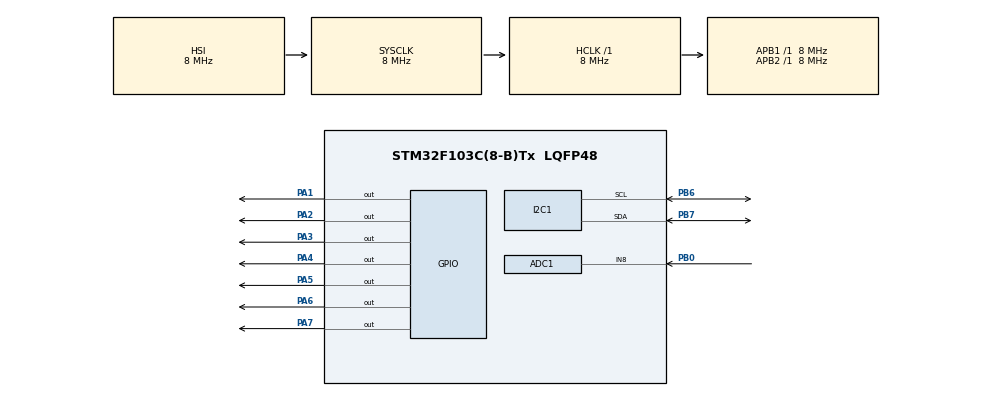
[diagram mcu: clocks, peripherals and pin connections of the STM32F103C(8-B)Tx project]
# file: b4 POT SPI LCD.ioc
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ADC1.Channel-2\#ChannelRegularConversion=ADC_CHANNEL_8
ADC1.EnableAnalogWatchDog=false
ADC1.NbrOfConversionFlag=1
ADC1.Rank-2\#ChannelRegularConversion=1
ADC1.SamplingTime-2\#ChannelRegularConversion=ADC_SAMPLETIME_1CYCLE_5
ADC1.master=1
Mcu.Family=STM32F1
Mcu.Name=STM32F103C(8-B)Tx
Mcu.Package=LQFP48
NVIC.PriorityGroup=NVIC_PRIORITYGROUP_4
PA1.Signal=GPIO_Output
PA13.Mode=Serial_Wire
PA13.Signal=SYS_JTMS-SWDIO
PA14.Mode=Serial_Wire
PA14.Signal=SYS_JTCK-SWCLK
PA2.Signal=GPIO_Output
PA3.Signal=GPIO_Output
PA4.Signal=GPIO_Output
PA5.Signal=GPIO_Output
PA6.Signal=GPIO_Output
PA7.Signal=GPIO_Output
PB0.Signal=ADCx_IN8
PB6.Mode=I2C
PB6.Signal=I2C1_SCL
PB7.Mode=I2C
PB7.Signal=I2C1_SDA
PD0-OSC_IN.Mode=HSE-External-Oscillator
PD0-OSC_IN.Signal=RCC_OSC_IN
PD1-OSC_OUT.Mode=HSE-External-Oscillator
PD1-OSC_OUT.Signal=RCC_OSC_OUT
ProjectManager.HeapSize=0x200
ProjectManager.StackSize=0x400
ProjectManager.TargetToolchain=MDK-ARM V5
RCC.AHBFreq_Value=8000000
RCC.APB1Freq_Value=8000000
RCC.APB1TimFreq_Value=8000000
RCC.APB2Freq_Value=8000000
RCC.APB2TimFreq_Value=8000000
RCC.HCLKFreq_Value=8000000
RCC.SYSCLKFreq_VALUE=8000000
RCC.USBFreq_Value=8000000
SH.ADCx_IN8.0=ADC1_IN8,IN8
board=custom

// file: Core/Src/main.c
/* USER CODE BEGIN Header */
/**
  ******************************************************************************
  * @file           : main.c
  * @brief          : Main program body
  ******************************************************************************
  * @attention
  *
  * Copyright (c) 2024 STMicroelectronics.
  * All rights reserved.
  *
  * This software is licensed under terms that can be found in the LICENSE file
  * in the root directory of this software component.
  * If no LICENSE file comes with this software, it is provided AS-IS.
  *
  ******************************************************************************
  */
/* USER CODE END Header */
#include "main.h"

/* USER CODE BEGIN Includes */
#include <math.h>
#include "string.h"
#include "stdio.h"
#include "i2c-lcd.h"

uint32_t readAdc8;
uint32_t checkAdc8;

/* USER CODE END Includes */

ADC_HandleTypeDef hadc1;

I2C_HandleTypeDef hi2c1;

/* USER CODE BEGIN PV */

uint32_t adc1(void){
	HAL_ADC_Start(&hadc1);
  HAL_ADC_PollForConversion(&hadc1, 10);
	readAdc8 = HAL_ADC_GetValue(&hadc1);
	readAdc8 -= 4;
	readAdc8 = readAdc8*4000/4087;
	return readAdc8;
}

/* USER CODE END PV */

void SystemClock_Config(void);
static void MX_GPIO_Init(void);
static void MX_ADC1_Init(void);
static void MX_I2C1_Init(void);

int main(void)
{

  /* MCU Configuration--------------------------------------------------------*/

  /* Reset of all peripherals, Initializes the Flash interface and the Systick. */
  HAL_Init();

  /* Configure the system clock */
  SystemClock_Config();

  /* Initialize all configured peripherals */
  MX_GPIO_Init();
  MX_ADC1_Init();
  MX_I2C1_Init();
  /* USER CODE BEGIN 2 */
	HAL_ADC_Start(&hadc1);
  HAL_ADC_PollForConversion(&hadc1, 10);
	readAdc8 = HAL_ADC_GetValue(&hadc1);
	lcd_init();
	lcd_put_cur(0,0);
	lcd_send_string("POT: ");
	lcd_put_cur(1,0);
	lcd_send_number(readAdc8);

  /* USER CODE END 2 */

  /* Infinite loop */
  while (1)
  {

    /* USER CODE BEGIN 3 */
	 readAdc8 = HAL_ADC_GetValue(&hadc1);

		if(checkAdc8 != readAdc8){
			HAL_Delay(100);
			lcd_clear();
			lcd_put_cur(0,0);
			lcd_send_string("POT: ");
			lcd_put_cur(1,0);
			lcd_send_number(readAdc8);
			checkAdc8 = adc1();
			}

  }
  /* USER CODE END 3 */
}

void SystemClock_Config(void)
{
  RCC_OscInitTypeDef RCC_OscInitStruct = {0};
  RCC_ClkInitTypeDef RCC_ClkInitStruct = {0};
  RCC_PeriphCLKInitTypeDef PeriphClkInit = {0};

  /** Initializes the RCC Oscillators according to the specified parameters
  * in the RCC_OscInitTypeDef structure.
  */
  RCC_OscInitStruct.OscillatorType = RCC_OSCILLATORTYPE_HSI;
  RCC_OscInitStruct.HSIState = RCC_HSI_ON;
  RCC_OscInitStruct.HSICalibrationValue = RCC_HSICALIBRATION_DEFAULT;
  RCC_OscInitStruct.PLL.PLLState = RCC_PLL_NONE;
  if (HAL_RCC_OscConfig(&RCC_OscInitStruct) != HAL_OK)
  {
    Error_Handler();
  }

  /** Initializes the CPU, AHB and APB buses clocks
  */
  RCC_ClkInitStruct.ClockType = RCC_CLOCKTYPE_HCLK|RCC_CLOCKTYPE_SYSCLK
                              |RCC_CLOCKTYPE_PCLK1|RCC_CLOCKTYPE_PCLK2;
  RCC_ClkInitStruct.SYSCLKSource = RCC_SYSCLKSOURCE_HSI;
  RCC_ClkInitStruct.AHBCLKDivider = RCC_SYSCLK_DIV1;
  RCC_ClkInitStruct.APB1CLKDivider = RCC_HCLK_DIV1;
  RCC_ClkInitStruct.APB2CLKDivider = RCC_HCLK_DIV1;

  if (HAL_RCC_ClockConfig(&RCC_ClkInitStruct, FLASH_LATENCY_0) != HAL_OK)
  {
    Error_Handler();
  }
  PeriphClkInit.PeriphClockSelection = RCC_PERIPHCLK_ADC;
  PeriphClkInit.AdcClockSelection = RCC_ADCPCLK2_DIV2;
  if (HAL_RCCEx_PeriphCLKConfig(&PeriphClkInit) != HAL_OK)
  {
    Error_Handler();
  }
}

static void MX_ADC1_Init(void)
{

  ADC_ChannelConfTypeDef sConfig = {0};

  /** Common config
  */
  hadc1.Instance = ADC1;
  hadc1.Init.ScanConvMode = ADC_SCAN_DISABLE;
  hadc1.Init.ContinuousConvMode = DISABLE;
  hadc1.Init.DiscontinuousConvMode = DISABLE;
  hadc1.Init.ExternalTrigConv = ADC_SOFTWARE_START;
  hadc1.Init.DataAlign = ADC_DATAALIGN_RIGHT;
  hadc1.Init.NbrOfConversion = 1;
  if (HAL_ADC_Init(&hadc1) != HAL_OK)
  {
    Error_Handler();
  }

  /** Configure Regular Channel
  */
  sConfig.Channel = ADC_CHANNEL_8;
  sConfig.Rank = ADC_REGULAR_RANK_1;
  sConfig.SamplingTime = ADC_SAMPLETIME_1CYCLE_5;
  if (HAL_ADC_ConfigChannel(&hadc1, &sConfig) != HAL_OK)
  {
    Error_Handler();
  }

}

static void MX_I2C1_Init(void)
{

  hi2c1.Instance = I2C1;
  hi2c1.Init.ClockSpeed = 100000;
  hi2c1.Init.DutyCycle = I2C_DUTYCYCLE_2;
  hi2c1.Init.OwnAddress1 = 0;
  hi2c1.Init.AddressingMode = I2C_ADDRESSINGMODE_7BIT;
  hi2c1.Init.DualAddressMode = I2C_DUALADDRESS_DISABLE;
  hi2c1.Init.OwnAddress2 = 0;
  hi2c1.Init.GeneralCallMode = I2C_GENERALCALL_DISABLE;
  hi2c1.Init.NoStretchMode = I2C_NOSTRETCH_DISABLE;
  if (HAL_I2C_Init(&hi2c1) != HAL_OK)
  {
    Error_Handler();
  }

}

static void MX_GPIO_Init(void)
{
  GPIO_InitTypeDef GPIO_InitStruct = {0};

  /* GPIO Ports Clock Enable */
  __HAL_RCC_GPIOD_CLK_ENABLE();
  __HAL_RCC_GPIOA_CLK_ENABLE();
  __HAL_RCC_GPIOB_CLK_ENABLE();

  /*Configure GPIO pin Output Level */
  HAL_GPIO_WritePin(GPIOA, GPIO_PIN_1|GPIO_PIN_2|GPIO_PIN_3|GPIO_PIN_4
                          |GPIO_PIN_5|GPIO_PIN_6|GPIO_PIN_7, GPIO_PIN_RESET);

  /*Configure GPIO pins : PA1 PA2 PA3 PA4
                           PA5 PA6 PA7 */
  GPIO_InitStruct.Pin = GPIO_PIN_1|GPIO_PIN_2|GPIO_PIN_3|GPIO_PIN_4
                          |GPIO_PIN_5|GPIO_PIN_6|GPIO_PIN_7;
  GPIO_InitStruct.Mode = GPIO_MODE_OUTPUT_PP;
  GPIO_InitStruct.Pull = GPIO_NOPULL;
  GPIO_InitStruct.Speed = GPIO_SPEED_FREQ_LOW;
  HAL_GPIO_Init(GPIOA, &GPIO_InitStruct);

}

void Error_Handler(void)
{
  __disable_irq();
  while (1)
  {
  }
}
